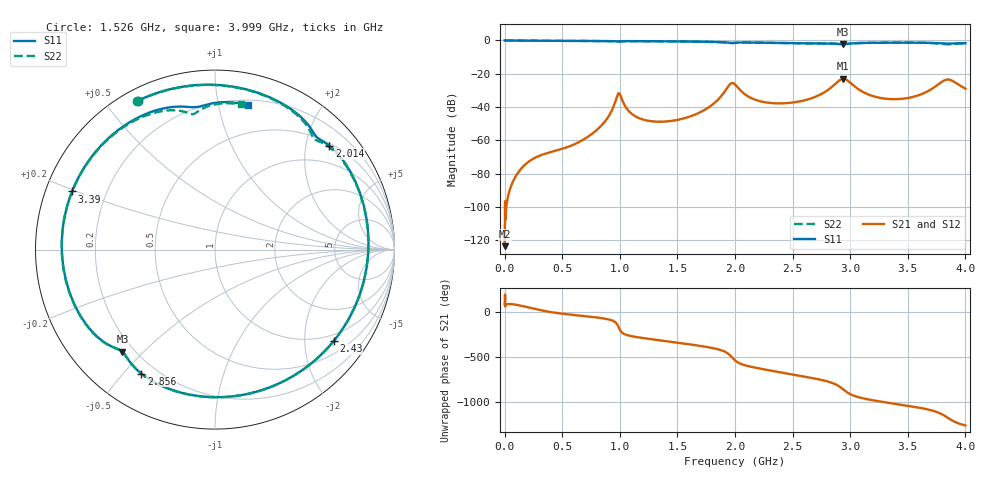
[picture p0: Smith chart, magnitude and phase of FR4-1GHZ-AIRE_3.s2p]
! TOUCHSTONE file generated by CST MICROWAVE STUDIO
! Date and time: Thu Oct 30 13:41:13 2025
! Project name: ResonadorAnillo_PadsGndDesplazados_AnchoPistaPin.cst
! Parameters = {Eeff=3.2262; Er=4.3; H=1.56; L1=41.7557; L2=41.7557; L_Ang=8.68; L_AngTrans=1; L_Base=6.5; L_PadGND=4; L_Pin=4; L_conn=4; L_sma=8.5; Landa=167.023; R_Diel=2.08; R_Pin=0.45; R_sma=2.58; T=0.035; W=2.6; W_Base=1.5; W_PadGND=1.8; W_PistaPin=2.5; W_conn=0.9; Wa=2.6; X=113.294; Y=113.294;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
! Header version: 2024
! Port assignment regex: !\s*Touchstone port\s*([0-9]+)\s*=\s*(CST MWS port|CST DES external port|CST DES block port)\s*(.+)\s* \(\"(.*)\"\)(\s*mode\s*([0-9]+))?.*
! Touchstone port assignment:
! Touchstone port 1 = CST MWS port 1 ("")
! Touchstone port 2 = CST MWS port 2 ("")
# GHz S MA R 62.45
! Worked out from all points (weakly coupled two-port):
!   5000 points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, 800 kHz to 4 GHz, reference 62.45 ohm
!   highest |S21| = -23.03 dB at 2.941 GHz (marker M1); lowest = -123.5 dB at 800 kHz (marker M2)
!   lowest |S11| = -2.3 dB at 2.935 GHz (marker M3), VSWR 7.62, Z = 9.77 - j27.1 ohm
!   |S11| at or under -10 dB: nowhere
!   |S22| runs from -2.3 to 0.0 dB; largest |S21 - S12| = 5.5e-10
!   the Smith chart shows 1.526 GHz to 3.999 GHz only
!   S11 on the Smith chart (normalised r, x): 1.526 GHz: 0.05, +0.61; 2.014 GHz: 0.55, +2.48; 2.43 GHz: 0.81, -2.72; 2.856 GHz: 0.14, -0.56; 3.39 GHz: 0.08, +0.19; 3.999 GHz: 0.24, +1.23
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0.0008  0.9999 -0.2  6.654e-07 93.3  6.654e-07 93.3  0.9999 -0.2
0.348  0.9778 -65.3  0.000392 14.0  0.000392 14.0  0.9779 -65.3
0.668  0.9655 -119.2  0.0009759 -38.1  0.0009759 -38.1  0.9656 -119.0
0.8672  0.9599 -149.7  0.003534 -70.6  0.003534 -70.6  0.9601 -149.3
0.9912  0.9261 -167.4  0.02608 -169.0  0.02608 -169.0  0.936 -167.0
1.1208  0.9532 174.7  0.005675 89.4  0.005675 89.4  0.9535 175.0
1.3344  0.9457 144.7  0.003635 49.4  0.003635 49.4  0.9455 145.0
1.5256  0.9344 117.5  0.004296 17.0  0.004296 17.0  0.9338 117.8
1.76  0.9122 82.0  0.009207 -27.5  0.009207 -27.5  0.9104 82.1
2.0008  0.8544 44.5  0.04769 -176.0  0.04769 -176.0  0.8423 45.1
2.0144  0.861 42.2  0.04256 170.5  0.04256 170.5  0.852 42.9
2.2184  0.8568 3.9  0.01498 92.4  0.01498 92.4  0.8559 3.9
2.4304  0.8347 -37.7  0.01301 43.7  0.01301 43.7  0.8346 -38.0
2.6672  0.8229 -84.6  0.01852 -11.2  0.01852 -11.2  0.8236 -84.9
2.856  0.8033 -120.7  0.04457 -72.8  0.04457 -72.8  0.8036 -120.8
2.9352  0.768 -132.2  0.07031 -134.2  0.07031 -134.2  0.7676 -132.1
2.9408  0.7685 -132.8  0.07054 -139.9  0.07054 -139.9  0.7681 -132.6
3.3336  0.8578 166.1  0.01747 71.7  0.01747 71.7  0.858 166.6
3.3904  0.8595 157.9  0.01723 60.5  0.01723 60.5  0.8593 158.4
3.8384  0.8009 97.8  0.0668 -87.2  0.0668 -87.2  0.7647 99.3
3.9992  0.8258 77.1  0.03592 -179.7  0.03592 -179.7  0.8221 79.8
4  0.8258 76.9  0.03581 -180.0  0.03581 -180.0  0.8221 79.6
